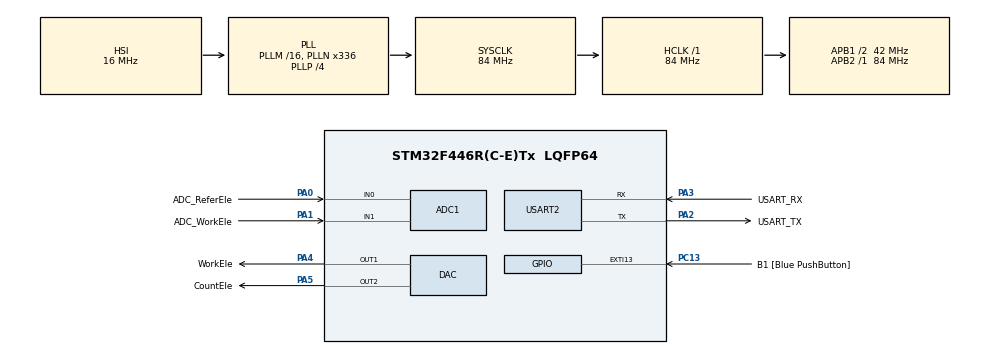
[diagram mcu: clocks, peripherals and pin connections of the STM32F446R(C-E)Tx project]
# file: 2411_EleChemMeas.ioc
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ADC1.Channel-0\#ChannelRegularConversion=ADC_CHANNEL_0
ADC1.Channel-1\#ChannelRegularConversion=ADC_CHANNEL_1
ADC1.ContinuousConvMode=DISABLE
ADC1.DMAContinuousRequests=ENABLE
ADC1.ExternalTrigConv=ADC_EXTERNALTRIGCONV_T3_TRGO
ADC1.NbrOfConversion=2
ADC1.NbrOfConversionFlag=1
ADC1.Rank-0\#ChannelRegularConversion=1
ADC1.Rank-1\#ChannelRegularConversion=2
ADC1.SamplingTime-0\#ChannelRegularConversion=ADC_SAMPLETIME_3CYCLES
ADC1.SamplingTime-1\#ChannelRegularConversion=ADC_SAMPLETIME_3CYCLES
ADC1.ScanConvMode=ENABLE
ADC1.master=1
Dma.ADC1.0.Direction=DMA_PERIPH_TO_MEMORY
Dma.ADC1.0.FIFOMode=DMA_FIFOMODE_DISABLE
Dma.ADC1.0.Instance=DMA2_Stream0
Dma.ADC1.0.MemDataAlignment=DMA_MDATAALIGN_HALFWORD
Dma.ADC1.0.MemInc=DMA_MINC_ENABLE
Dma.ADC1.0.Mode=DMA_CIRCULAR
Dma.ADC1.0.PeriphDataAlignment=DMA_PDATAALIGN_HALFWORD
Dma.ADC1.0.PeriphInc=DMA_PINC_DISABLE
Dma.ADC1.0.Priority=DMA_PRIORITY_LOW
Dma.Request0=ADC1
Mcu.Family=STM32F4
Mcu.Name=STM32F446R(C-E)Tx
Mcu.Package=LQFP64
NVIC.ADC_IRQn=true\:0\:0\:false\:false\:true\:true\:true\:true
NVIC.DMA2_Stream0_IRQn=true\:0\:0\:false\:false\:true\:false\:true\:true
NVIC.PriorityGroup=NVIC_PRIORITYGROUP_0
NVIC.TIM1_TRG_COM_TIM11_IRQn=true\:0\:0\:false\:false\:true\:true\:true\:true
NVIC.TIM1_UP_TIM10_IRQn=true\:0\:0\:false\:false\:true\:true\:true\:true
NVIC.TIM8_UP_TIM13_IRQn=true\:0\:0\:false\:false\:true\:true\:true\:true
PA0-WKUP.GPIO_Label=ADC_ReferEle
PA0-WKUP.Signal=ADCx_IN0
PA1.GPIO_Label=ADC_WorkEle
PA1.Signal=ADCx_IN1
PA13.GPIO_Label=TMS
PA13.Mode=Serial_Wire
PA13.Signal=SYS_JTMS-SWDIO
PA14.GPIO_Label=TCK
PA14.Mode=Serial_Wire
PA14.Signal=SYS_JTCK-SWCLK
PA2.GPIO_Label=USART_TX
PA2.Mode=Asynchronous
PA2.Signal=USART2_TX
PA3.GPIO_Label=USART_RX
PA3.Mode=Asynchronous
PA3.Signal=USART2_RX
PA4.GPIO_Label=WorkEle
PA4.Signal=COMP_DAC1_group
PA5.GPIO_Label=CountEle
PA5.Signal=COMP_DAC2_group
PB3.GPIO_Label=SWO
PB3.Signal=SYS_JTDO-SWO
PC13.GPIO_Label=B1 [Blue PushButton]
PC13.GPIO_ModeDefaultEXTI=GPIO_MODE_IT_FALLING
PC13.Signal=GPXTI13
PC14-OSC32_IN.Mode=LSE-External-Oscillator
PC14-OSC32_IN.Signal=RCC_OSC32_IN
PC15-OSC32_OUT.Mode=LSE-External-Oscillator
PC15-OSC32_OUT.Signal=RCC_OSC32_OUT
PH0-OSC_IN.Mode=HSE-External-Oscillator
PH0-OSC_IN.Signal=RCC_OSC_IN
PH1-OSC_OUT.Mode=HSE-External-Oscillator
PH1-OSC_OUT.Signal=RCC_OSC_OUT
ProjectManager.HeapSize=0x200
ProjectManager.StackSize=0x400
ProjectManager.TargetToolchain=MDK-ARM V5.32
RCC.48MHZClocksFreq_Value=84000000
RCC.AHBFreq_Value=84000000
RCC.APB1CLKDivider=RCC_HCLK_DIV2
RCC.APB1Freq_Value=42000000
RCC.APB1TimFreq_Value=84000000
RCC.APB2Freq_Value=84000000
RCC.APB2TimFreq_Value=84000000
RCC.CortexFreq_Value=84000000
RCC.FLatency-AdvancedSettings=FLASH_LATENCY_2
RCC.HCLKFreq_Value=84000000
RCC.HSE_VALUE=8000000
RCC.HSI_VALUE=16000000
RCC.PLLN=336
RCC.PLLP=RCC_PLLP_DIV4
RCC.SYSCLKFreq_VALUE=84000000
RCC.SYSCLKSource=RCC_SYSCLKSOURCE_PLLCLK
RCC.USBFreq_Value=168000000
RCC.VCOOutputFreq_Value=336000000
SH.ADCx_IN0.0=ADC1_IN0,IN0
SH.ADCx_IN1.0=ADC1_IN1,IN1
SH.COMP_DAC1_group.0=DAC_OUT1,DAC_OUT1
SH.COMP_DAC2_group.0=DAC_OUT2,DAC_OUT2
TIM10.Period=99
TIM10.Prescaler=8399
TIM11.Period=99
TIM11.Prescaler=839
TIM13.Period=499
TIM13.Prescaler=8399
TIM3.AutoReloadPreload=TIM_AUTORELOAD_PRELOAD_ENABLE
TIM3.Period=39
TIM3.Prescaler=41999
TIM3.TIM_MasterOutputTrigger=TIM_TRGO_UPDATE
USART2.VirtualMode=VM_ASYNC
VP_TIM10_VS_ClockSourceINT.Mode=Enable_Timer
VP_TIM11_VS_ClockSourceINT.Mode=Enable_Timer
VP_TIM13_VS_ClockSourceINT.Mode=Enable_Timer
VP_TIM3_VS_ClockSourceINT.Mode=Internal
board=NUCLEO-F446RE

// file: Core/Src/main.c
/* USER CODE BEGIN Header */
/**
	******************************************************************************
	* @file           : main.c
	* @brief          : Main program body
	******************************************************************************
	* @attention
	*
	* Copyright (c) 2024 STMicroelectronics.
	* All rights reserved.
	*
	* This software is licensed under terms that can be found in the LICENSE file
	* in the root directory of this software component.
	* If no LICENSE file comes with this software, it is provided AS-IS.
	*
	******************************************************************************
	*/
/* USER CODE END Header */
#include "main.h"
#include "adc.h"
#include "dac.h"
#include "dma.h"
#include "tim.h"
#include "usart.h"
#include "gpio.h"

/* USER CODE BEGIN Includes */
#include <stdbool.h>
#include <string.h>
#include <stdio.h>
#include <math.h> // 包含math.h以使用round函数
/* USER CODE END Includes */

/* USER CODE BEGIN PD */
# define ADC_CHANNEL_NUM 2
uint16_t adcValue[ADC_CHANNEL_NUM];
/* USER CODE END PD */

void SystemClock_Config(void);
/* USER CODE BEGIN PFP */
uint16_t dacConvert(float targetVoltage);
/* USER CODE END PFP */

int main(void)
{

  /* MCU Configuration--------------------------------------------------------*/

  /* Reset of all peripherals, Initializes the Flash interface and the Systick. */
  HAL_Init();

  /* Configure the system clock */
  SystemClock_Config();

  /* Initialize all configured peripherals */
  MX_GPIO_Init();
  MX_DMA_Init();
  MX_ADC1_Init();
  MX_DAC_Init();
  MX_USART2_UART_Init();
  MX_TIM10_Init();
  MX_TIM11_Init();
  MX_TIM13_Init();
  MX_TIM3_Init();
  /* USER CODE BEGIN 2 */
	// +----------------+-------------------+----------------+
	// | 引脚名称       | 功能              | 引脚编号       |
	// +----------------+-------------------+----------------+
	// | 参比电极测量ADC       | ReferEle ADC1_IN0 | PA0            |
	// | 工作电极测量ADC       | WorkEle  ADC1_IN1 | PA1            |
	// | 工作电极       | WorkEle  DAC1_OUT1| PA4             |
	// | 对电极         | ConEle DAC1_OUT2  | PA5            |
	// | 用户按键       | B1 GPIO_EXTI13    | PC13           |
	// +----------------+-------------------+----------------+

	// | 按键状态 | 工作电极工作类型 | 真实电压输出     | 等效电压        |
	// +--------+-------------------+------------------+-----------------+
	// | 0      | 恒压              | 0.65V            | -1.00V          |
	// | 1      | 恒压              | 1.65V            | 0.00V           |
	// | 2      | 恒压              | 2.65V            | 1.00V           |
	// | 3      | 开路/关闭DAC输出  | 0.00V            | -1.65V          |
	// | 4      | CV循环伏安        | 0.65V~2.65V~0.65V| -1V~1V~1V 10mV  |
	// | 5      | DPV差分脉冲伏安   | 0.65V~2.65V~0.65V| -1V~1V~1V 10mV  |
	// +--------+-------------------+------------------+-----------------+

	// 初始化DAC，对电极恒定1.65V，工作电极初始化为1.65V
	HAL_DAC_Start(&hdac, DAC_CHANNEL_2);
	HAL_DAC_SetValue(&hdac, DAC_CHANNEL_2, DAC_ALIGN_12B_R, 2048);
	HAL_DAC_Start(&hdac, DAC_CHANNEL_1);
	HAL_DAC_SetValue(&hdac, DAC_CHANNEL_1, DAC_ALIGN_12B_R, 2048);
	// 初始化ADC
	HAL_ADC_Start(&hadc1);
	// 启动定时器3 10 11
	HAL_TIM_Base_Start(&htim3);
	HAL_TIM_Base_Start_IT(&htim10);
	HAL_TIM_Base_Start_IT(&htim11);
	// 关闭定时器13
	HAL_TIM_Base_Stop_IT(&htim13);
	// 启动ADC
	HAL_ADC_Start_DMA(&hadc1, (uint32_t *)adcValue, ADC_CHANNEL_NUM);

  /* USER CODE END 2 */

  /* Infinite loop */
	while (1)
	{

	}
}

void SystemClock_Config(void)
{
  RCC_OscInitTypeDef RCC_OscInitStruct = {0};
  RCC_ClkInitTypeDef RCC_ClkInitStruct = {0};

  /** Configure the main internal regulator output voltage
  */
  __HAL_RCC_PWR_CLK_ENABLE();
  __HAL_PWR_VOLTAGESCALING_CONFIG(PWR_REGULATOR_VOLTAGE_SCALE3);

  /** Initializes the RCC Oscillators according to the specified parameters
  * in the RCC_OscInitTypeDef structure.
  */
  RCC_OscInitStruct.OscillatorType = RCC_OSCILLATORTYPE_HSI;
  RCC_OscInitStruct.HSIState = RCC_HSI_ON;
  RCC_OscInitStruct.HSICalibrationValue = RCC_HSICALIBRATION_DEFAULT;
  RCC_OscInitStruct.PLL.PLLState = RCC_PLL_ON;
  RCC_OscInitStruct.PLL.PLLSource = RCC_PLLSOURCE_HSI;
  RCC_OscInitStruct.PLL.PLLM = 16;
  RCC_OscInitStruct.PLL.PLLN = 336;
  RCC_OscInitStruct.PLL.PLLP = RCC_PLLP_DIV4;
  RCC_OscInitStruct.PLL.PLLQ = 2;
  RCC_OscInitStruct.PLL.PLLR = 2;
  if (HAL_RCC_OscConfig(&RCC_OscInitStruct) != HAL_OK)
  {
    Error_Handler();
  }

  /** Initializes the CPU, AHB and APB buses clocks
  */
  RCC_ClkInitStruct.ClockType = RCC_CLOCKTYPE_HCLK|RCC_CLOCKTYPE_SYSCLK
                              |RCC_CLOCKTYPE_PCLK1|RCC_CLOCKTYPE_PCLK2;
  RCC_ClkInitStruct.SYSCLKSource = RCC_SYSCLKSOURCE_PLLCLK;
  RCC_ClkInitStruct.AHBCLKDivider = RCC_SYSCLK_DIV1;
  RCC_ClkInitStruct.APB1CLKDivider = RCC_HCLK_DIV2;
  RCC_ClkInitStruct.APB2CLKDivider = RCC_HCLK_DIV1;

  if (HAL_RCC_ClockConfig(&RCC_ClkInitStruct, FLASH_LATENCY_2) != HAL_OK)
  {
    Error_Handler();
  }
}

/* USER CODE BEGIN 4 */
// region USER CODE BEGIN 4

// 重定义printf函数
int fputc(int ch, FILE *f)
{
	HAL_UART_Transmit(&huart2, (uint8_t *)&ch, 1, 0xFFFF);
	return ch;
}

// 定义按键状态机
typedef enum {
	BUTTON_IDLE,
	BUTTON_DEBOUNCE,
	BUTTON_PRESSED
} ButtonState;

volatile ButtonState buttonState = BUTTON_IDLE;
volatile uint32_t buttonPressCount = 0;
volatile uint32_t debounceCounter = 0;
volatile uint8_t counterStateNum = 6;
volatile uint8_t testflag=0;

// 电压步进
volatile uint32_t voltageStep = 0;
// 目标电压
volatile uint32_t voltageTarget = 0;

void HAL_TIM_PeriodElapsedCallback(TIM_HandleTypeDef *htim)
{
	// TIM10主状态机
	if (htim->Instance == TIM10) {

		// 转换并输出ADC采样值mV和差值
		float referVoltage = adcValue[0] * 3.3f / 4095.0f * 1000.0f;
		float workVoltage = adcValue[1] * 3.3f / 4095.0f * 1000.0f;
		printf("ReferEle: %.2f mV, WorkEle: %.2f mV, Diff: %.2f mV\r\n", referVoltage, workVoltage, workVoltage - referVoltage);

		// 根据按键状态输出不同电压
		switch (buttonPressCount) {
			case 0: //恒压-1V，即对电极恒定1.65V，工作电极恒定0.65V
				HAL_DAC_SetValue(&hdac, DAC_CHANNEL_2, DAC_ALIGN_12B_R, 2048);
				HAL_DAC_SetValue(&hdac, DAC_CHANNEL_1, DAC_ALIGN_12B_R, 807);
				printf("WorkMode 0: Constant Voltage -1V\r\n");
				// 关闭定时器13并将电压步进和目标电压清零
				HAL_TIM_Base_Stop_IT(&htim13);
				voltageStep = 0;
				voltageTarget = 0;
				break;
			case 1: //恒压0V，即对电极恒定1.65V，工作电极恒定1.65V
				HAL_DAC_SetValue(&hdac, DAC_CHANNEL_2, DAC_ALIGN_12B_R, 2048);
				HAL_DAC_SetValue(&hdac, DAC_CHANNEL_1, DAC_ALIGN_12B_R, 2048);
				printf("WorkMode 1: Constant Voltage 0V\r\n");
				break;
			case 2: //恒压1V，即对电极恒定1.65V，工作电极恒定2.65V
				HAL_DAC_SetValue(&hdac, DAC_CHANNEL_2, DAC_ALIGN_12B_R, 2048);
				HAL_DAC_SetValue(&hdac, DAC_CHANNEL_1, DAC_ALIGN_12B_R, 3288);
				printf("WorkMode 2: Constant Voltage 1V\r\n");
				break;
			case 3: //开路/关闭DAC输出，即对电极恒定1.65V，工作电极关闭
				HAL_DAC_SetValue(&hdac, DAC_CHANNEL_2, DAC_ALIGN_12B_R, 2048);
				HAL_DAC_SetValue(&hdac, DAC_CHANNEL_1, DAC_ALIGN_12B_R, 0);
				printf("WorkMode 3: Open Circuit\r\n");
				break;
			case 4: //CV循环伏安，即对电极恒定1.65V，工作电极从-1V到1V到-1V，10mV步进
				// 如果定时器13未启动，则启动定时器13
				if (voltageStep == 0) {
					HAL_TIM_Base_Start_IT(&htim13);
					// 起始电压设为650mV
					voltageTarget = 650;
				}

				// 如果电压步进是10的倍数，进行电压步进
				if (voltageStep % 10 == 0) {
					if (voltageStep <= 2000) {
						voltageTarget = 650 + voltageStep;
					} else {
						voltageTarget = 2000 + 2650 - voltageStep;
					}
				}
				// 刷写电压
				HAL_DAC_SetValue(&hdac, DAC_CHANNEL_1, DAC_ALIGN_12B_R, dacConvert(voltageTarget / 1000.0f));

				// -1V~1V~1V 4000mV 10mV步进，应步进400次，计数值应满4000次，满次数后停止
				if (voltageStep >= 4000 ){
					HAL_TIM_Base_Stop_IT(&htim13);
					voltageStep = 0;
					voltageTarget = 650;
				}
				printf("WorkMode 4: CV\r\n");
				break;
			case 5: //DPV差分脉冲伏安，即对电极恒定1.65V，工作电极从-1V到1V到-1V，10mV步进，每次爬升额外增加一个步进的过充
				// 如果定时器13未启动，则启动定时器13
				if (voltageStep == 0) {
					HAL_TIM_Base_Start_IT(&htim13);
					// 起始电压设为650mV
					voltageTarget = 650;
				}

				// 如果电压步进是10的倍数，进行电压步进
				if (voltageStep % 10 == 0) {
					if (voltageStep <= 2000) {
						voltageTarget = 650 + voltageStep + 15;
					} else {
						voltageTarget = 2000 + 2650 - voltageStep + 15;
					}

				}
				if (voltageStep % 10 == 1) {
					// 过充下降沿
					if (voltageStep <= 2000) {
						voltageTarget = 650 + voltageStep -1;
					} else {
						voltageTarget = 2000 + 2650 - voltageStep +1;
					}
				}
				// 刷写电压
				HAL_DAC_SetValue(&hdac, DAC_CHANNEL_1, DAC_ALIGN_12B_R, dacConvert(voltageTarget / 1000.0f));

				// -1V~1V~1V 4000mV 10mV步进，应步进400次，计数值应满4000次，满次数后停止
				if (voltageStep >= 4000) {
					HAL_TIM_Base_Stop_IT(&htim13);
					voltageStep = 0;
					voltageTarget = 650;
				}

				printf("WorkMode 5: DPV \r\n");
				break;
			default:
				break;
		}
	}

	// TIM11按键消抖状态机
	if (htim->Instance == TIM11) {
		switch (buttonState) {
			case BUTTON_IDLE:
				if (HAL_GPIO_ReadPin(GPIOC, GPIO_PIN_13) == GPIO_PIN_SET) {
					buttonState = BUTTON_DEBOUNCE;
					debounceCounter = 0;
				}
				break;

			case BUTTON_DEBOUNCE:
				if (debounceCounter++ >= 50) { // 假设50次中断为消抖时间
					if (HAL_GPIO_ReadPin(GPIOC, GPIO_PIN_13) == GPIO_PIN_SET) {
						buttonState = BUTTON_PRESSED;
						buttonPressCount++;
						buttonPressCount %= counterStateNum;
					} else {
						buttonState = BUTTON_IDLE;
					}
				}
				break;

			case BUTTON_PRESSED:
				if (HAL_GPIO_ReadPin(GPIOC, GPIO_PIN_13) == GPIO_PIN_RESET) {
					buttonState = BUTTON_IDLE;
				}
				break;
		}
	}

	// TIM13电压步进 频率20Hz 周期50ms
	if (htim->Instance == TIM13) {
		voltageStep++;
	}
}

uint16_t dacConvert(float targetVoltage) {
	// 参考电压为3.3V，分辨率为4096
	float referenceVoltage = 3.3f;
	uint16_t resolution = 4096;

	// 计算DAC值并四舍五入
	uint16_t dacValue = (uint16_t)round((targetVoltage / referenceVoltage) * (resolution - 1));

	// 确保DAC值在0到4095之间
	if (dacValue > 4095) {
		dacValue = 4095;
	}

	return dacValue;
}
// endregion USER CODE END 4
/* USER CODE END 4 */

void Error_Handler(void)
{
	__disable_irq();
	while (1)
	{
	}
}
